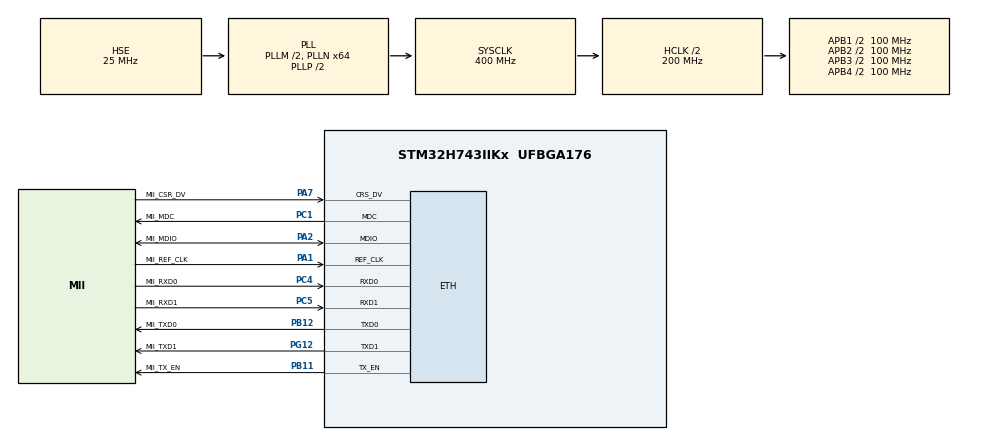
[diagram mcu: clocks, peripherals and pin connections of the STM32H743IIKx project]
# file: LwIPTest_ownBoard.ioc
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CORTEX_M7.AccessPermission_S-Cortex_Memory_Protection_Unit_Region1_Settings_S=MPU_REGION_FULL_ACCESS
CORTEX_M7.AccessPermission_S-Cortex_Memory_Protection_Unit_Region2_Settings_S=MPU_REGION_FULL_ACCESS
CORTEX_M7.BaseAddress_S-Cortex_Memory_Protection_Unit_Region1_Settings_S=0x30020000
CORTEX_M7.BaseAddress_S-Cortex_Memory_Protection_Unit_Region2_Settings_S=0x30040000
CORTEX_M7.CPU_DCache=Enabled
CORTEX_M7.CPU_ICache=Enabled
CORTEX_M7.DisableExec_S-Cortex_Memory_Protection_Unit_Region1_Settings_S=MPU_INSTRUCTION_ACCESS_DISABLE
CORTEX_M7.DisableExec_S-Cortex_Memory_Protection_Unit_Region2_Settings_S=MPU_INSTRUCTION_ACCESS_DISABLE
CORTEX_M7.Enable_S-Cortex_Memory_Protection_Unit_Region1_Settings_S=MPU_REGION_ENABLE
CORTEX_M7.Enable_S-Cortex_Memory_Protection_Unit_Region2_Settings_S=MPU_REGION_ENABLE
CORTEX_M7.IsBufferable_S-Cortex_Memory_Protection_Unit_Region2_Settings_S=MPU_ACCESS_BUFFERABLE
CORTEX_M7.IsShareable_S-Cortex_Memory_Protection_Unit_Region2_Settings_S=MPU_ACCESS_SHAREABLE
CORTEX_M7.Size_S-Cortex_Memory_Protection_Unit_Region1_Settings_S=MPU_REGION_SIZE_128KB
CORTEX_M7.Size_S-Cortex_Memory_Protection_Unit_Region2_Settings_S=MPU_REGION_SIZE_512B
CORTEX_M7.TypeExtField_S-Cortex_Memory_Protection_Unit_Region1_Settings_S=MPU_TEX_LEVEL1
ETH.MACAddr=00\:80\:E1\:00\:AA\:BB
ETH.MediaInterface=HAL_ETH_RMII_MODE
FREERTOS.Tasks01=defaultTask,0,512,StartDefaultTask,Default,NULL,Dynamic,NULL,NULL
FREERTOS.configUSE_NEWLIB_REENTRANT=1
LWIP.BSP.number=1
LWIP.ETHARP_DEBUG=LWIP_DBG_ON
LWIP.IP_ADDRESS=192.168.001.010
LWIP.LWIP_DHCP=0
LWIP.LWIP_RAM_HEAP_POINTER=0x3002000
LWIP.MEM_SIZE=131048
LWIP.NETIF_DEBUG=LWIP_DBG_ON
LWIP.NETMASK_ADDRESS=255.255.255.000
LWIP.UDP_DEBUG=LWIP_DBG_ON
LWIP.Version=v2.1.2_Cube
LWIP0.BSP.STBoard=false
LWIP0.BSP.api=BSP_COMPONENT_DRIVER
LWIP0.BSP.component=LAN8742
LWIP0.BSP.instance=LAN8742
LWIP0.BSP.name=Driver_PHY
LWIP0.BSP.semaphore=S_LAN8742
LWIP0.BSP.solution=LAN8742
Mcu.Family=STM32H7
Mcu.Name=STM32H743IIKx
Mcu.Package=UFBGA176
NVIC.ETH_IRQn=true\:5\:0\:true\:false\:true\:true\:true\:true\:true
NVIC.PriorityGroup=NVIC_PRIORITYGROUP_4
NVIC.TIM6_DAC_IRQn=true\:15\:0\:false\:false\:true\:false\:false\:true\:true
NVIC.TimeBase=TIM6_DAC_IRQn
NVIC.TimeBaseIP=TIM6
PA1.GPIO_Label=MII_REF_CLK
PA1.GPIO_Speed=GPIO_SPEED_FREQ_VERY_HIGH
PA1.Mode=RMII
PA1.Signal=ETH_REF_CLK
PA13\ (JTMS/SWDIO).Mode=Serial_Wire
PA13\ (JTMS/SWDIO).Signal=DEBUG_JTMS-SWDIO
PA14\ (JTCK/SWCLK).Mode=Serial_Wire
PA14\ (JTCK/SWCLK).Signal=DEBUG_JTCK-SWCLK
PA2.GPIO_Label=MII_MDIO
PA2.GPIO_Speed=GPIO_SPEED_FREQ_VERY_HIGH
PA2.Mode=RMII
PA2.Signal=ETH_MDIO
PA7.GPIO_Label=MII_CSR_DV
PA7.GPIO_Speed=GPIO_SPEED_FREQ_VERY_HIGH
PA7.Mode=RMII
PA7.Signal=ETH_CRS_DV
PB11.GPIO_Label=MII_TX_EN
PB11.GPIO_Speed=GPIO_SPEED_FREQ_VERY_HIGH
PB11.Mode=RMII
PB11.Signal=ETH_TX_EN
PB12.GPIO_Label=MII_TXD0
PB12.GPIO_Speed=GPIO_SPEED_FREQ_VERY_HIGH
PB12.Mode=RMII
PB12.Signal=ETH_TXD0
PC1.GPIO_Label=MII_MDC
PC1.GPIO_Speed=GPIO_SPEED_FREQ_VERY_HIGH
PC1.Mode=RMII
PC1.Signal=ETH_MDC
PC4.GPIO_Label=MII_RXD0
PC4.GPIO_Speed=GPIO_SPEED_FREQ_VERY_HIGH
PC4.Mode=RMII
PC4.Signal=ETH_RXD0
PC5.GPIO_Label=MII_RXD1
PC5.GPIO_Speed=GPIO_SPEED_FREQ_VERY_HIGH
PC5.Mode=RMII
PC5.Signal=ETH_RXD1
PG12.GPIO_Label=MII_TXD1
PG12.GPIO_Speed=GPIO_SPEED_FREQ_VERY_HIGH
PG12.Mode=RMII
PG12.Signal=ETH_TXD1
PH0-OSC_IN\ (PH0).Mode=HSE-External-Oscillator
PH0-OSC_IN\ (PH0).Signal=RCC_OSC_IN
PH1-OSC_OUT\ (PH1).Mode=HSE-External-Oscillator
PH1-OSC_OUT\ (PH1).Signal=RCC_OSC_OUT
ProjectManager.HeapSize=0x200
ProjectManager.StackSize=0x400
ProjectManager.TargetToolchain=STM32CubeIDE
RCC.ADCFreq_Value=50390625
RCC.APB1Freq_Value=100000000
RCC.APB2Freq_Value=100000000
RCC.APB3Freq_Value=100000000
RCC.APB4Freq_Value=100000000
RCC.CortexFreq_Value=400000000
RCC.D1PPRE=RCC_APB3_DIV2
RCC.D2PPRE1=RCC_APB1_DIV2
RCC.D2PPRE2=RCC_APB2_DIV2
RCC.D3PPRE=RCC_APB4_DIV2
RCC.DIVM1=2
RCC.DIVN1=64
RCC.DIVR1=4
RCC.HCLKFreq_Value=200000000
RCC.HPRE=RCC_HCLK_DIV2
RCC.PLLFRACN=0
RCC.PLLSourceVirtual=RCC_PLLSOURCE_HSE
RCC.SYSCLKFreq_VALUE=400000000
RCC.SYSCLKSource=RCC_SYSCLKSOURCE_PLLCLK
RCC.USBFreq_Value=400000000
VP_FREERTOS_VS_CMSIS_V1.Mode=CMSIS_V1
VP_LWIP_VS_Enabled.Mode=Enabled
VP_SYS_VS_tim6.Mode=TIM6
board=custom

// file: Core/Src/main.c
/* USER CODE BEGIN Header */
/**
  ******************************************************************************
  * @file           : main.c
  * @brief          : Main program body
  ******************************************************************************
  * @attention
  *
  * Copyright (c) 2023 STMicroelectronics.
  * All rights reserved.
  *
  * This software is licensed under terms that can be found in the LICENSE file
  * in the root directory of this software component.
  * If no LICENSE file comes with this software, it is provided AS-IS.
  *
  ******************************************************************************
  */
/* USER CODE END Header */
#include "main.h"
#include "cmsis_os.h"
#include "lwip.h"

/* USER CODE BEGIN Includes */
#include "lwip/udp.h"
#include <string.h>

/* USER CODE END Includes */

osThreadId defaultTaskHandle;

void SystemClock_Config(void);
static void MX_GPIO_Init(void);
void StartDefaultTask(void const * argument);

/* USER CODE BEGIN 0 */
/*console Debugging JPB*/
int _write(int32_t file, uint8_t *ptr, int32_t len)
{
    for (int i = 0; i < len; i++)
    {
        ITM_SendChar(*ptr++);
    }
    return len;
}

/* USER CODE END 0 */

int main(void)
{

  /* Enable I-Cache---------------------------------------------------------*/
  SCB_EnableICache();

  /* Enable D-Cache---------------------------------------------------------*/
  SCB_EnableDCache();

  /* MCU Configuration--------------------------------------------------------*/

  /* Reset of all peripherals, Initializes the Flash interface and the Systick. */
  HAL_Init();

  /* Configure the system clock */
  SystemClock_Config();

  /* Initialize all configured peripherals */
  MX_GPIO_Init();

  /* Create the thread(s) */
  /* definition and creation of defaultTask */
  osThreadDef(defaultTask, StartDefaultTask, osPriorityNormal, 0, 512);
  defaultTaskHandle = osThreadCreate(osThread(defaultTask), NULL);

  /* Start scheduler */
  osKernelStart();

  /* We should never get here as control is now taken by the scheduler */
  /* Infinite loop */
  while (1)
  {

  }
}

void SystemClock_Config(void)
{
  RCC_OscInitTypeDef RCC_OscInitStruct = {0};
  RCC_ClkInitTypeDef RCC_ClkInitStruct = {0};

  /** Supply configuration update enable
  */
  HAL_PWREx_ConfigSupply(PWR_LDO_SUPPLY);

  /** Configure the main internal regulator output voltage
  */
  __HAL_PWR_VOLTAGESCALING_CONFIG(PWR_REGULATOR_VOLTAGE_SCALE1);

  while(!__HAL_PWR_GET_FLAG(PWR_FLAG_VOSRDY)) {}

  /** Initializes the RCC Oscillators according to the specified parameters
  * in the RCC_OscInitTypeDef structure.
  */
  RCC_OscInitStruct.OscillatorType = RCC_OSCILLATORTYPE_HSE;
  RCC_OscInitStruct.HSEState = RCC_HSE_ON;
  RCC_OscInitStruct.PLL.PLLState = RCC_PLL_ON;
  RCC_OscInitStruct.PLL.PLLSource = RCC_PLLSOURCE_HSE;
  RCC_OscInitStruct.PLL.PLLM = 2;
  RCC_OscInitStruct.PLL.PLLN = 64;
  RCC_OscInitStruct.PLL.PLLP = 2;
  RCC_OscInitStruct.PLL.PLLQ = 2;
  RCC_OscInitStruct.PLL.PLLR = 4;
  RCC_OscInitStruct.PLL.PLLRGE = RCC_PLL1VCIRANGE_3;
  RCC_OscInitStruct.PLL.PLLVCOSEL = RCC_PLL1VCOWIDE;
  RCC_OscInitStruct.PLL.PLLFRACN = 0;
  if (HAL_RCC_OscConfig(&RCC_OscInitStruct) != HAL_OK)
  {
    Error_Handler();
  }

  /** Initializes the CPU, AHB and APB buses clocks
  */
  RCC_ClkInitStruct.ClockType = RCC_CLOCKTYPE_HCLK|RCC_CLOCKTYPE_SYSCLK
                              |RCC_CLOCKTYPE_PCLK1|RCC_CLOCKTYPE_PCLK2
                              |RCC_CLOCKTYPE_D3PCLK1|RCC_CLOCKTYPE_D1PCLK1;
  RCC_ClkInitStruct.SYSCLKSource = RCC_SYSCLKSOURCE_PLLCLK;
  RCC_ClkInitStruct.SYSCLKDivider = RCC_SYSCLK_DIV1;
  RCC_ClkInitStruct.AHBCLKDivider = RCC_HCLK_DIV2;
  RCC_ClkInitStruct.APB3CLKDivider = RCC_APB3_DIV2;
  RCC_ClkInitStruct.APB1CLKDivider = RCC_APB1_DIV2;
  RCC_ClkInitStruct.APB2CLKDivider = RCC_APB2_DIV2;
  RCC_ClkInitStruct.APB4CLKDivider = RCC_APB4_DIV2;

  if (HAL_RCC_ClockConfig(&RCC_ClkInitStruct, FLASH_LATENCY_2) != HAL_OK)
  {
    Error_Handler();
  }
}

static void MX_GPIO_Init(void)
{

  /* GPIO Ports Clock Enable */
  __HAL_RCC_GPIOA_CLK_ENABLE();
  __HAL_RCC_GPIOG_CLK_ENABLE();
  __HAL_RCC_GPIOH_CLK_ENABLE();
  __HAL_RCC_GPIOC_CLK_ENABLE();
  __HAL_RCC_GPIOB_CLK_ENABLE();

}

void StartDefaultTask(void const * argument)
{
  /* init code for LWIP */
  MX_LWIP_Init();
  /* USER CODE BEGIN 5 */
  /* modified by JPB 20231023*/
  const char* message = "Hello UDP message!\n\r";

  osDelay(1000);

  ip_addr_t PC_IPADDR;
  IP_ADDR4(&PC_IPADDR, 192, 168, 1, 1);

  struct udp_pcb* my_udp = udp_new();
  udp_connect(my_udp, &PC_IPADDR, 55151);
  struct pbuf* udp_buffer = NULL;

  /*end mod JPB*/

  /* Infinite loop */
  for(;;)
  {
    osDelay(500);
    /* !! PBUF_RAM is critical for correct operation !! */
    udp_buffer = pbuf_alloc(PBUF_TRANSPORT, strlen(message), PBUF_RAM);

    if (udp_buffer != NULL) {
      memcpy(udp_buffer->payload, message, strlen(message));
      udp_send(my_udp, udp_buffer);
      pbuf_free(udp_buffer);
    }
  }
  /* USER CODE END 5 */
}

void HAL_TIM_PeriodElapsedCallback(TIM_HandleTypeDef *htim)
{
  if (htim->Instance == TIM6) {
    HAL_IncTick();
  }
}

void Error_Handler(void)
{
  __disable_irq();
  while (1)
  {
  }
}
